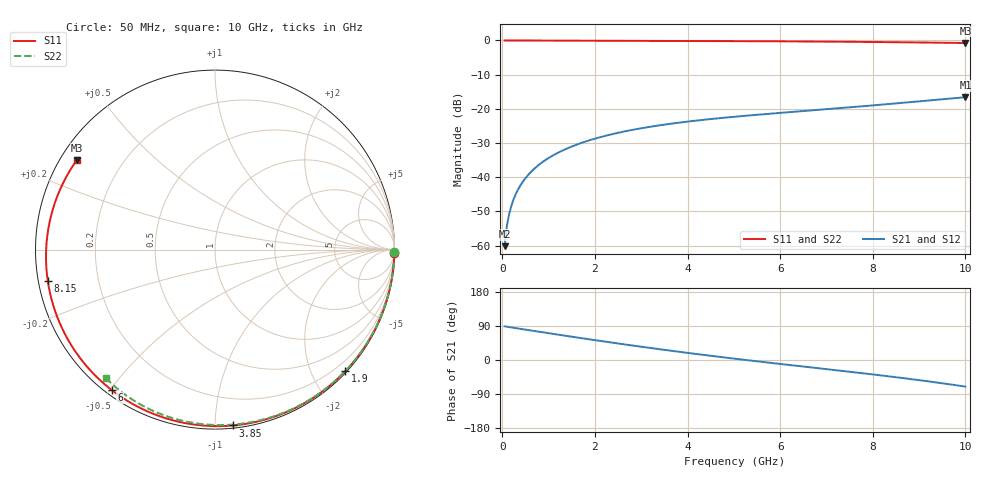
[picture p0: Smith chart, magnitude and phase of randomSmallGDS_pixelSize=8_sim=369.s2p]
! freq	dB(S11)	phase(S11)	dB(S12)	phase(S12)
!  dB(S21)	phase(S21)	dB(S22)	phase(S22)
!S-par simulation data
#  GHz  S  DB  R 50
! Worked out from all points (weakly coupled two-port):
!   200 points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, 50 MHz to 10 GHz, reference 50 ohm
!   highest |S21| = -16.60 dB at 10 GHz (marker M1); lowest = -60.2 dB at 50 MHz (marker M2)
!   lowest |S11| = -0.7 dB at 10 GHz (marker M3), VSWR 23.22, Z = 2.34 + j14.8 ohm
!   |S11| at or under -10 dB: nowhere
!   |S22| runs from -0.5 to 0.0 dB; largest |S21 - S12| = 0
!   S11 on the Smith chart (normalised r, x): 50 MHz: 0, -98; 1.9 GHz: 0.03, -2.53; 3.85 GHz: 0.02, -1.11; 6 GHz: 0.02, -0.50; 8.15 GHz: 0.03, -0.09; 10 GHz: 0.05, +0.30
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0.05  -0.00 -1.2  -60.19 88.9  -60.19 88.9  -0.00 -0.8
0.1  -0.00 -2.3  -54.18 87.8  -54.18 87.8  -0.00 -1.5
0.15  -0.00 -3.5  -50.67 86.8  -50.67 86.8  -0.00 -2.3
0.2  -0.01 -4.6  -48.19 85.8  -48.19 85.8  -0.00 -3.1
0.35  -0.01 -8.1  -43.37 83.0  -43.37 83.0  -0.01 -5.3
0.5  -0.01 -11.5  -40.30 80.1  -40.30 80.1  -0.01 -7.6
0.7  -0.02 -16.1  -37.41 76.3  -37.41 76.3  -0.01 -10.6
1  -0.03 -22.9  -34.39 70.8  -34.39 70.8  -0.02 -15.1
1.75  -0.06 -39.8  -29.79 56.9  -29.79 56.9  -0.04 -26.3
1.9  -0.06 -43.1  -29.13 54.2  -29.13 54.2  -0.04 -28.5
2.65  -0.09 -59.3  -26.59 41.0  -26.59 41.0  -0.06 -39.3
3.4  -0.11 -75.0  -24.82 28.4  -24.82 28.4  -0.08 -49.9
3.85  -0.13 -84.2  -23.99 21.1  -23.99 21.1  -0.09 -56.1
4.45  -0.16 -96.2  -23.06 11.9  -23.06 11.9  -0.11 -64.2
5.05  -0.19 -108.0  -22.28 3.0  -22.28 3.0  -0.13 -72.1
6  -0.25 -126.4  -21.19 -10.4  -21.19 -10.4  -0.18 -84.1
6.7  -0.31 -140.0  -20.44 -20.0  -20.44 -20.0  -0.21 -92.7
7.45  -0.38 -154.9  -19.63 -30.3  -19.63 -30.3  -0.26 -101.6
8.15  -0.46 -169.3  -18.83 -40.2  -18.83 -40.2  -0.32 -109.6
8.35  -0.49 -173.6  -18.60 -43.1  -18.60 -43.1  -0.34 -111.9
9.2  -0.61 167.1  -17.57 -56.4  -17.57 -56.4  -0.43 -121.4
10  -0.75 147.0  -16.60 -70.2  -16.60 -70.2  -0.54 -130.2
